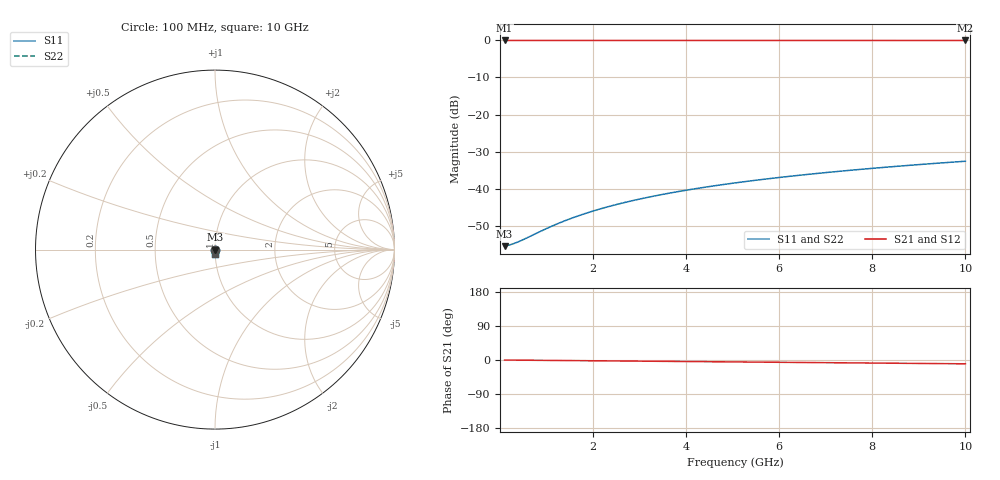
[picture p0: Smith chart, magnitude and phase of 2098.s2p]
# Hz S RI R 50.00
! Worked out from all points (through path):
!   100 points, 100 MHz to 10 GHz, reference 50 ohm
!   highest |S21| = -0.01 dB at 100 MHz (marker M1); lowest = 0.0 dB at 10 GHz (marker M2)
!   group delay of S21, straight-line fit = 2.79 ps
!   lowest |S11| = -55.5 dB at 100 MHz (marker M3), VSWR 1.00, Z = 50.2 - j0.0238 ohm
!   |S11| at or under -10 dB: start of sweep to end of sweep
!   |S22| runs from -55.5 to -32.6 dB; largest |S21 - S12| = 0
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1e8  0.00166 -0.000237  0.9983 -0.00175  0.9983 -0.00175  0.00166 -0.000237
2e8  0.00167 -0.000474  0.9983 -0.0035  0.9983 -0.0035  0.00167 -0.000474
3e8  0.00167 -0.000711  0.9983 -0.00525  0.9983 -0.00525  0.00167 -0.000711
4e8  0.00167 -0.000948  0.9983 -0.007  0.9983 -0.007  0.00167 -0.000948
1e9  0.00166 -0.00237  0.9981 -0.0175  0.9981 -0.0175  0.00166 -0.00237
1.2e9  0.00165 -0.00284  0.998 -0.021  0.998 -0.021  0.00165 -0.00284
1.5e9  0.00162 -0.00355  0.9979 -0.0263  0.9979 -0.0263  0.00162 -0.00355
1.8e9  0.00159 -0.00426  0.9977 -0.0315  0.9977 -0.0315  0.00159 -0.00426
2.1e9  0.00154 -0.00497  0.9975 -0.0367  0.9975 -0.0367  0.00154 -0.00497
2.5e9  0.00147 -0.00592  0.9972 -0.0437  0.9972 -0.0437  0.00147 -0.00592
2.9e9  0.00139 -0.00686  0.9969 -0.0507  0.9969 -0.0507  0.00139 -0.00686
3.4e9  0.00126 -0.00804  0.9964 -0.0595  0.9964 -0.0595  0.00126 -0.00804
3.8e9  0.00115 -0.00899  0.9959 -0.0665  0.9959 -0.0665  0.00115 -0.00899
4.2e9  0.00102 -0.00993  0.9954 -0.0735  0.9954 -0.0735  0.00102 -0.00993
4.6e9  0.000879 -0.0109  0.9949 -0.0804  0.9949 -0.0804  0.000879 -0.0109
5.1e9  0.000683 -0.012  0.9941 -0.0892  0.9941 -0.0892  0.000683 -0.012
5.9e9  0.000328 -0.0139  0.9927 -0.1031  0.9927 -0.1031  0.000328 -0.0139
6.7e9  -7.98e-05 -0.0158  0.9911 -0.117  0.9911 -0.117  -7.98e-05 -0.0158
7.5e9  -0.00054 -0.0176  0.9893 -0.1309  0.9893 -0.1309  -0.00054 -0.0176
8.4e9  -0.00112 -0.0197  0.987 -0.1465  0.987 -0.1465  -0.00112 -0.0197
9.2e9  -0.00169 -0.0215  0.9848 -0.1604  0.9848 -0.1604  -0.00169 -0.0215
1e10  -0.00231 -0.0233  0.9824 -0.1742  0.9824 -0.1742  -0.00231 -0.0233
